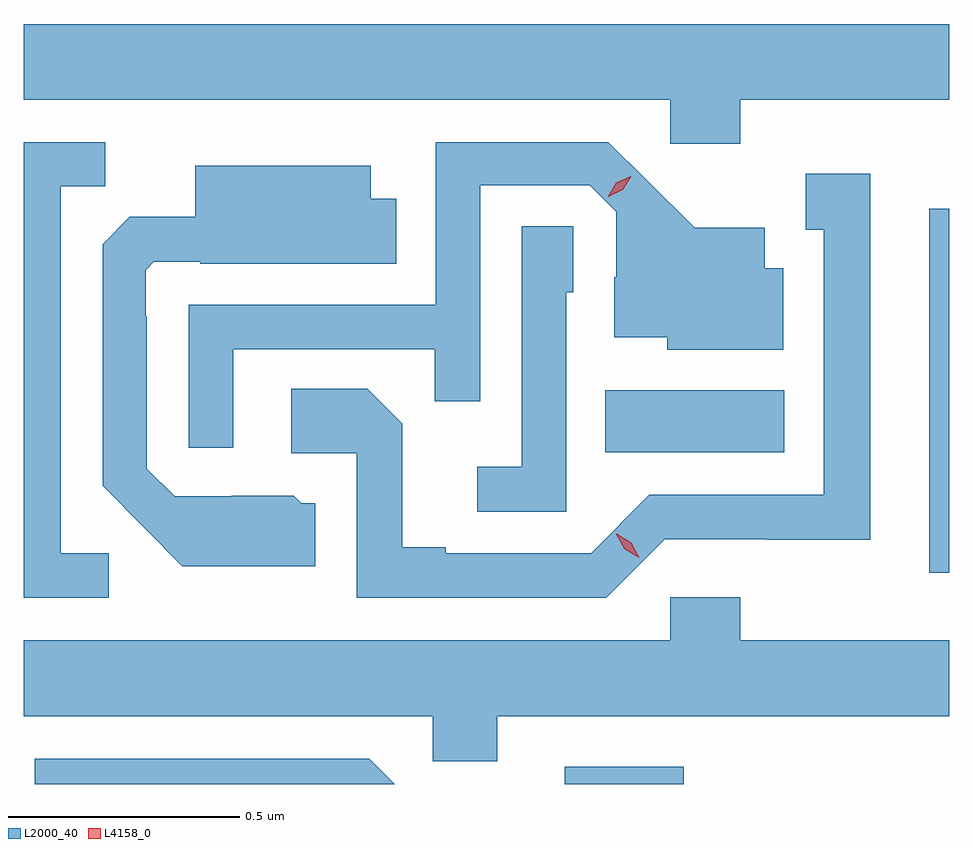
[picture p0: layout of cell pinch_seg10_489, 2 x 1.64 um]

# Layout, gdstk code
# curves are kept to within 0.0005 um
import gdstk
lib = gdstk.Library(unit=1e-6, precision=1e-09)
def R(c, l, rs):  # rectangles x0, y0, x1, y1
    for r in rs: c.add(gdstk.rectangle(r[:2], r[2:], *l))
def P(c, l, *ps):  # polygons
    for p in ps: c.add(gdstk.Polygon(p, *l))
L2000_40 = (2000, 40)
L4158_0 = (4158, 0)

pinch_seg10_489 = lib.new_cell('pinch_seg10_489')
R(pinch_seg10_489, L2000_40, [(335.97,1309.493,336.227,1309.53), (336.758,1309.95,336.801,1310.737), (336.058,1310.21,336.445,1310.344)])
P(pinch_seg10_489, L2000_40, [(336.35,1310.972),(336.801,1310.972),(336.801,1311.136),(334.801,1311.136),(334.801,1310.972),(336.198,1310.972),(336.198,1310.877),(336.35,1310.877)],
  [(334.984,1309.992),(334.881,1309.992),(334.881,1310.785),(334.977,1310.785),(334.977,1310.88),(334.801,1310.88),(334.801,1309.896),(334.984,1309.896)],
  [(335.253,1310.433),(335.689,1310.433),(335.689,1310.32),(335.787,1310.32),(335.787,1310.787),(336.024,1310.787),(336.081,1310.73),(336.081,1310.588),(336.077,1310.588),(336.077,1310.459),(336.192,1310.459),(336.192,1310.432),(336.442,1310.432),(336.442,1310.608),(336.403,1310.608),(336.403,1310.695),(336.251,1310.695),(336.064,1310.88),(335.691,1310.88),(335.691,1310.529),(335.157,1310.529),(335.157,1310.22),(335.253,1310.22)],
  [(335.431,1310.1),(335.4,1310.1),(335.384,1310.116),(335.25,1310.116),(335.25,1310.115),(335.127,1310.115),(335.067,1310.175),(335.067,1310.504),(335.064,1310.504),(335.064,1310.604),(335.082,1310.622),(335.182,1310.622),(335.182,1310.618),(335.606,1310.618),(335.606,1310.758),(335.551,1310.758),(335.551,1310.83),(335.171,1310.83),(335.171,1310.719),(335.03,1310.719),(334.971,1310.66),(334.971,1310.138),(335.143,1309.964),(335.431,1309.964)],
  [(336.186,1310.022),(336.408,1310.022),(336.408,1310.021),(336.631,1310.021),(336.631,1310.812),(336.491,1310.812),(336.491,1310.691),(336.53,1310.691),(336.53,1310.118),(336.153,1310.118),(336.027,1309.992),(335.713,1309.992),(335.713,1310.005),(335.619,1310.005),(335.619,1310.272),(335.543,1310.348),(335.379,1310.348),(335.379,1310.208),(335.52,1310.208),(335.52,1309.896),(336.06,1309.896)],
  [(335.973,1310.556),(335.988,1310.556),(335.988,1310.699),(335.877,1310.699),(335.877,1310.179),(335.781,1310.179),(335.781,1310.082),(335.973,1310.082)],
  [(335.824,1309.64),(336.801,1309.64),(336.801,1309.804),(336.35,1309.804),(336.35,1309.897),(336.198,1309.897),(336.198,1309.804),(334.801,1309.804),(334.801,1309.64),(335.685,1309.64),(335.685,1309.542),(335.824,1309.542)],
  [(335.548,1309.548),(334.824,1309.548),(334.824,1309.493),(335.603,1309.493)])
P(pinch_seg10_489, L4158_0, [(336.131,1309.982),(336.1,1310.001),(336.082,1310.033),(336.082,1310.034),(336.083,1310.034),(336.114,1310.015),(336.131,1309.982),(336.131,1309.982)],
  [(336.064,1310.763),(336.064,1310.764),(336.082,1310.793),(336.113,1310.807),(336.114,1310.807),(336.114,1310.807),(336.096,1310.778),(336.064,1310.763)])

lib.write_gds('pinch_seg10_489.gds')
